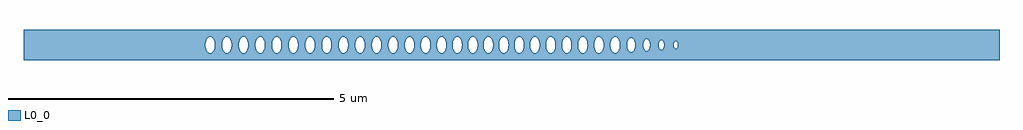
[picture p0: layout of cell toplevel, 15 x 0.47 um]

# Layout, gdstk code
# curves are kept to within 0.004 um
import gdstk
lib = gdstk.Library(unit=1e-6, precision=1e-09)
def P(c, l, *ps):  # polygons
    for p in ps: c.add(gdstk.Polygon(p, *l))
L0_0 = (0, 0)

toplevel = lib.new_cell('toplevel')
P(toplevel, L0_0, [(-4.189,0.032),(-4.169,0.093),(-4.142,0.121),(-4.142,0.234),(-7.5,0.234),(-7.5,-0.016),(-4.703,-0.016),(-4.701,0.032),(-4.69,0.075),(-4.666,0.112),(-4.631,0.128),(-4.604,0.119),(-4.581,0.093),(-4.562,0.039),(-4.559,0),(-4.448,0),(-4.441,0.054),(-4.425,0.093),(-4.402,0.119),(-4.375,0.128),(-4.348,0.119),(-4.329,0.098),(-4.314,0.068),(-4.303,0.016),(-4.306,-0.039),(-4.319,-0.081),(-4.348,-0.119),(-4.375,-0.128),(-4.402,-0.119),(-4.425,-0.093),(-4.441,-0.054),(-4.448,0),(-4.559,0),(-4.562,-0.039),(-4.581,-0.093),(-4.604,-0.119),(-4.631,-0.128),(-4.658,-0.119),(-4.681,-0.093),(-4.697,-0.054),(-4.703,-0.016),(-7.5,-0.016),(-7.5,-0.234),(-4.142,-0.234),(-4.142,-0.121),(-4.169,-0.093),(-4.183,-0.061),(-4.192,-0.008)],
  [(-4.142,0.234),(-4.142,0.121),(-4.119,0.128),(-4.08,0.108),(-4.063,0.081),(-4.052,0.047),(-4.047,-0.008),(-3.936,-0.008),(-3.931,0.047),(-3.913,0.093),(-3.89,0.119),(-3.863,0.128),(-3.837,0.119),(-3.817,0.098),(-3.802,0.068),(-3.791,0.008),(-3.796,-0.047),(-3.814,-0.093),(-3.837,-0.119),(-3.863,-0.128),(-3.89,-0.119),(-3.91,-0.098),(-3.925,-0.068),(-3.936,-0.008),(-4.047,-0.008),(-4.058,-0.068),(-4.08,-0.108),(-4.119,-0.128),(-4.142,-0.121),(-4.142,-0.234),(-3.539,-0.234),(-3.539,-0.041),(-3.549,-0.075),(-3.569,-0.108),(-3.594,-0.125),(-3.617,-0.126),(-3.634,-0.119),(-3.657,-0.093),(-3.675,-0.047),(-3.68,-0.008),(-3.678,0.032),(-3.666,0.075),(-3.646,0.108),(-3.621,0.125),(-3.594,0.125),(-3.569,0.108),(-3.549,0.075),(-3.539,0.039),(-3.539,0.234)],
  [(-2.4,0.016),(-2.387,0.075),(-2.355,0.119),(-2.328,0.128),(-2.315,0.125),(-2.293,0.112),(-2.275,0.087),(-2.275,0.234),(-2.875,0.234),(-2.875,0.112),(-2.84,0.128),(-2.813,0.119),(-2.801,0.108),(-2.774,0.054),(-2.768,-0.016),(-2.656,-0.016),(-2.654,0.032),(-2.643,0.075),(-2.619,0.112),(-2.584,0.128),(-2.557,0.119),(-2.534,0.093),(-2.512,0.016),(-2.514,-0.032),(-2.525,-0.075),(-2.549,-0.112),(-2.584,-0.128),(-2.611,-0.119),(-2.634,-0.093),(-2.648,-0.061),(-2.656,-0.016),(-2.768,-0.016),(-2.781,-0.075),(-2.805,-0.112),(-2.84,-0.128),(-2.875,-0.112),(-2.875,-0.234),(-2.275,-0.234),(-2.275,-0.087),(-2.289,-0.108),(-2.31,-0.123),(-2.328,-0.128),(-2.355,-0.119),(-2.378,-0.093),(-2.392,-0.061)],
  [(-1.637,0.032),(-1.626,0.075),(-1.61,0.103),(-1.61,0.234),(-2.275,0.234),(-2.275,0.087),(-2.259,0.039),(-2.256,-0.016),(-2.145,-0.016),(-2.142,0.039),(-2.129,0.081),(-2.108,0.112),(-2.073,0.128),(-2.046,0.119),(-2.023,0.093),(-2.005,0.047),(-2.001,-0.016),(-1.891,-0.016),(-1.888,0.039),(-1.877,0.075),(-1.854,0.112),(-1.819,0.128),(-1.792,0.119),(-1.769,0.093),(-1.751,0.047),(-1.746,0.008),(-1.751,-0.047),(-1.769,-0.093),(-1.792,-0.119),(-1.819,-0.128),(-1.845,-0.119),(-1.865,-0.098),(-1.88,-0.068),(-1.891,-0.016),(-2.001,-0.016),(-2.005,-0.047),(-2.023,-0.093),(-2.046,-0.119),(-2.073,-0.128),(-2.099,-0.119),(-2.119,-0.098),(-2.134,-0.068),(-2.145,-0.016),(-2.256,-0.016),(-2.275,-0.087),(-2.275,-0.234),(-1.61,-0.234),(-1.61,-0.103),(-1.635,-0.047),(-1.64,-0.008)],
  [(-1.146,0.016),(-1.133,0.075),(-1.101,0.119),(-1.074,0.128),(-1.035,0.108),(-1.035,0.234),(-1.61,0.234),(-1.61,0.103),(-1.594,0.119),(-1.567,0.128),(-1.528,0.108),(-1.511,0.081),(-1.5,0.047),(-1.495,-0.016),(-1.391,-0.016),(-1.389,0.032),(-1.378,0.075),(-1.354,0.112),(-1.319,0.128),(-1.292,0.119),(-1.269,0.093),(-1.253,0.054),(-1.247,0.016),(-1.249,-0.032),(-1.26,-0.075),(-1.284,-0.112),(-1.319,-0.128),(-1.346,-0.119),(-1.369,-0.093),(-1.391,-0.016),(-1.495,-0.016),(-1.511,-0.081),(-1.541,-0.119),(-1.567,-0.128),(-1.581,-0.125),(-1.61,-0.103),(-1.61,-0.234),(-1.035,-0.234),(-1.035,-0.108),(-1.074,-0.128),(-1.101,-0.119),(-1.113,-0.108),(-1.14,-0.054)],
  [(-0.398,0.103),(-0.365,0.126),(-0.329,0.119),(-0.306,0.093),(-0.292,0.061),(-0.284,-0.008),(-0.191,-0.008),(-0.186,0.047),(-0.165,0.098),(-0.137,0.123),(-0.105,0.125),(-0.08,0.108),(-0.06,0.075),(-0.048,0.032),(-0.046,-0.008),(-0.057,-0.068),(-0.072,-0.098),(-0.092,-0.119),(-0.119,-0.128),(-0.145,-0.119),(-0.165,-0.098),(-0.18,-0.068),(-0.191,-0.008),(-0.284,-0.008),(-0.297,-0.075),(-0.329,-0.119),(-0.356,-0.128),(-0.369,-0.125),(-0.391,-0.112),(-0.405,-0.093),(-0.405,-0.234),(0.146,-0.234),(0.146,-0.119),(0.119,-0.128),(0.084,-0.112),(0.058,-0.068),(0.047,-0.008),(0.052,0.047),(0.073,0.098),(0.106,0.125),(0.119,0.128),(0.146,0.119),(0.146,0.234),(-0.405,0.234),(-0.405,0.093)],
  [(0.189,-0.032),(0.178,-0.075),(0.146,-0.119),(0.146,-0.234),(0.782,-0.234),(0.782,-0.047),(0.777,-0.008),(0.782,0.234),(0.146,0.234),(0.146,0.119),(0.178,0.075),(0.192,0),(0.287,0),(0.292,0.047),(0.31,0.093),(0.333,0.119),(0.36,0.128),(0.386,0.119),(0.413,0.087),(0.429,0.039),(0.432,-0.008),(0.531,-0.008),(0.536,0.047),(0.554,0.093),(0.577,0.119),(0.604,0.128),(0.63,0.119),(0.65,0.098),(0.674,0.032),(0.675,-0.024),(0.662,-0.075),(0.638,-0.112),(0.604,-0.128),(0.577,-0.119),(0.557,-0.098),(0.542,-0.068),(0.531,-0.008),(0.432,-0.008),(0.429,-0.039),(0.413,-0.087),(0.386,-0.119),(0.36,-0.128),(0.333,-0.119),(0.31,-0.093),(0.292,-0.047),(0.287,0),(0.192,0)],
  [(0.786,0.061),(0.8,0.093),(0.823,0.119),(0.85,0.128),(0.863,0.125),(0.885,0.112),(0.908,0.075),(0.919,0.039),(0.922,-0.008),(1.024,-0.008),(1.029,0.047),(1.047,0.093),(1.07,0.119),(1.097,0.128),(1.123,0.119),(1.146,0.093),(1.164,0.047),(1.169,-0.008),(1.164,-0.047),(1.146,-0.093),(1.123,-0.119),(1.097,-0.128),(1.07,-0.119),(1.05,-0.098),(1.035,-0.068),(1.024,-0.008),(0.922,-0.008),(0.917,-0.047),(0.899,-0.093),(0.876,-0.119),(0.85,-0.128),(0.823,-0.119),(0.811,-0.108),(0.782,-0.047),(0.782,-0.234),(1.37,-0.234),(1.37,-0.119),(1.343,-0.128),(1.317,-0.119),(1.305,-0.108),(1.282,-0.068),(1.271,-0.008),(1.276,0.047),(1.297,0.098),(1.33,0.125),(1.343,0.128),(1.37,0.119),(1.37,0.234),(0.782,0.234),(0.782,0.047)],
  [(2.027,-0.023),(2.029,0.234),(1.37,0.234),(1.37,0.119),(1.39,0.098),(1.405,0.068),(1.415,0.024),(1.415,-0.016),(1.521,-0.016),(1.523,0.032),(1.534,0.075),(1.558,0.112),(1.593,0.128),(1.62,0.119),(1.646,0.087),(1.662,0.039),(1.665,-0.014),(1.778,-0.014),(1.782,0.041),(1.792,0.071),(1.817,0.103),(1.84,0.111),(1.863,0.103),(1.883,0.081),(1.902,0.014),(1.893,-0.059),(1.877,-0.089),(1.852,-0.109),(1.828,-0.109),(1.8,-0.085),(1.782,-0.041),(1.778,-0.014),(1.665,-0.014),(1.646,-0.087),(1.62,-0.119),(1.593,-0.128),(1.566,-0.119),(1.543,-0.093),(1.529,-0.061),(1.521,-0.016),(1.415,-0.016),(1.402,-0.075),(1.37,-0.119),(1.37,-0.234),(2.029,-0.234)],
  [(2.031,0.045),(2.049,0.079),(2.064,0.091),(2.08,0.094),(2.099,0.085),(2.117,0.06),(2.127,0.029),(2.129,-0.01),(2.262,-0.01),(2.263,0.019),(2.273,0.053),(2.286,0.07),(2.306,0.077),(2.322,0.07),(2.338,0.045),(2.345,-0.008),(2.492,-0.008),(2.502,0.044),(2.512,0.056),(2.528,0.06),(2.547,0.041),(2.555,-0.011),(2.541,-0.051),(2.52,-0.06),(2.502,-0.044),(2.492,-0.008),(2.345,-0.008),(2.334,-0.053),(2.322,-0.07),(2.301,-0.077),(2.286,-0.07),(2.273,-0.053),(2.262,-0.01),(2.129,-0.01),(2.113,-0.068),(2.099,-0.085),(2.08,-0.094),(2.064,-0.091),(2.049,-0.079),(2.029,-0.037),(2.029,-0.234),(7.5,-0.234),(7.5,0.234),(2.029,0.234)],
  [(-3.536,-0.024),(-3.539,-0.234),(-3.163,-0.234),(-3.163,-0.047),(-3.168,-0.016),(-3.163,0.234),(-3.539,0.234),(-3.535,-0.008),(-3.424,-0.008),(-3.421,0.039),(-3.401,0.093),(-3.378,0.119),(-3.352,0.128),(-3.325,0.119),(-3.302,0.093),(-3.284,0.047),(-3.279,0.008),(-3.284,-0.047),(-3.302,-0.093),(-3.325,-0.119),(-3.352,-0.128),(-3.378,-0.119),(-3.398,-0.098),(-3.413,-0.068),(-3.424,-0.008),(-3.535,-0.008)],
  [(-3.154,0.075),(-3.135,0.108),(-3.122,0.119),(-3.096,0.128),(-3.069,0.119),(-3.037,0.075),(-3.023,0),(-3.037,-0.075),(-3.057,-0.108),(-3.082,-0.125),(-3.109,-0.125),(-3.131,-0.112),(-3.152,-0.081),(-3.163,-0.047),(-3.163,-0.234),(-2.875,-0.234),(-2.875,-0.112),(-2.899,-0.075),(-2.912,-0.016),(-2.91,0.032),(-2.899,0.075),(-2.875,0.112),(-2.875,0.234),(-3.163,0.234),(-3.163,0.047)],
  [(-1.035,0.234),(-1.035,0.108),(-1.013,0.068),(-1.002,0.016),(-1.007,-0.047),(-1.018,-0.081),(-1.035,-0.108),(-1.035,-0.234),(-0.761,-0.234),(-0.761,-0.024),(-0.771,-0.068),(-0.786,-0.098),(-0.806,-0.119),(-0.833,-0.128),(-0.859,-0.119),(-0.879,-0.098),(-0.894,-0.068),(-0.905,-0.008),(-0.903,0.032),(-0.891,0.075),(-0.871,0.108),(-0.842,0.126),(-0.81,0.121),(-0.786,0.098),(-0.771,0.068),(-0.761,0.024),(-0.761,0.234)],
  [(-0.405,-0.234),(-0.405,-0.093),(-0.417,-0.068),(-0.428,-0.016),(-0.425,0.039),(-0.405,0.093),(-0.405,0.234),(-0.761,0.234),(-0.76,-0.008),(-0.666,-0.008),(-0.661,0.047),(-0.643,0.093),(-0.62,0.119),(-0.593,0.128),(-0.567,0.119),(-0.547,0.098),(-0.532,0.068),(-0.521,0.008),(-0.526,-0.047),(-0.544,-0.093),(-0.567,-0.119),(-0.593,-0.128),(-0.62,-0.119),(-0.64,-0.098),(-0.655,-0.068),(-0.666,-0.008),(-0.76,-0.008),(-0.761,-0.234)])

lib.write_gds('toplevel.gds')
